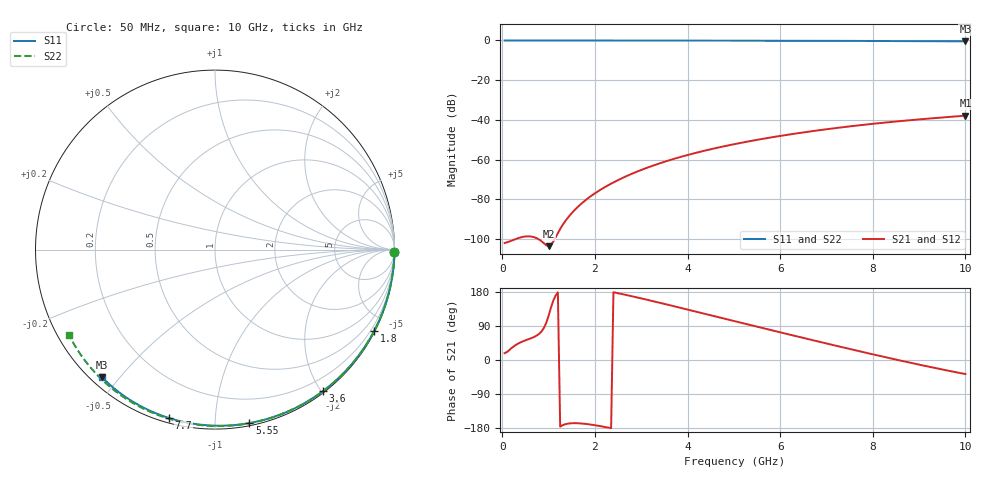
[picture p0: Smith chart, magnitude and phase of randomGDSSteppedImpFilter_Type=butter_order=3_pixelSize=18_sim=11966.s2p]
! freq	dB(S11)	phase(S11)	dB(S12)	phase(S12)
!  dB(S21)	phase(S21)	dB(S22)	phase(S22)
!S-par simulation data
#  GHz  S  DB  R 50
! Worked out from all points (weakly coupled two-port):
!   200 points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, 50 MHz to 10 GHz, reference 50 ohm
!   highest |S21| = -37.91 dB at 10 GHz (marker M1); lowest = -103.7 dB at 1 GHz (marker M2)
!   lowest |S11| = -0.4 dB at 10 GHz (marker M3), VSWR 38.98, Z = 1.54 - j22.4 ohm
!   |S11| at or under -10 dB: nowhere
!   |S22| runs from -0.5 to 0.0 dB; largest |S21 - S12| = 0
!   S11 on the Smith chart (normalised r, x): 50 MHz: open; 1.8 GHz: 0.04, -4.17; 3.6 GHz: 0.02, -2.02; 5.55 GHz: 0.02, -1.22; 7.7 GHz: 0.02, -0.76; 10 GHz: 0.03, -0.45
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0.05  -0.00 -0.8  -102.09 18.0  -102.09 18.0  -0.00 -0.9
0.5  -0.01 -7.6  -98.80 51.9  -98.80 51.9  -0.01 -8.6
1  -0.02 -15.1  -103.68 116.7  -103.68 116.7  -0.02 -17.1
1.75  -0.03 -26.2  -81.40 -168.0  -81.40 -168.0  -0.04 -29.7
1.8  -0.03 -27.0  -80.44 -168.6  -80.44 -168.6  -0.04 -30.5
1.85  -0.04 -27.7  -79.54 -169.4  -79.54 -169.4  -0.04 -31.3
2.05  -0.04 -30.6  -76.27 -173.1  -76.27 -173.1  -0.04 -34.6
2.2  -0.04 -32.8  -74.12 -176.4  -74.12 -176.4  -0.05 -37.1
2.55  -0.05 -37.9  -69.80 175.0  -69.80 175.0  -0.05 -42.8
2.95  -0.06 -43.6  -65.73 164.0  -65.73 164.0  -0.06 -49.2
3.4  -0.07 -50.0  -61.92 151.0  -61.92 151.0  -0.07 -56.4
3.6  -0.07 -52.8  -60.43 145.1  -60.43 145.1  -0.08 -59.5
3.9  -0.08 -56.9  -58.38 136.1  -58.38 136.1  -0.09 -64.1
4.3  -0.09 -62.3  -55.94 124.1  -55.94 124.1  -0.10 -70.2
5.05  -0.11 -72.3  -52.07 101.5  -52.07 101.5  -0.13 -81.3
5.55  -0.13 -78.8  -49.88 86.5  -49.88 86.5  -0.15 -88.6
6.1  -0.15 -85.8  -47.74 70.1  -47.74 70.1  -0.17 -96.4
6.7  -0.18 -93.2  -45.69 52.4  -45.69 52.4  -0.20 -104.7
7.7  -0.24 -105.2  -42.78 23.4  -42.78 23.4  -0.27 -118.2
8.35  -0.29 -112.8  -41.18 5.2  -41.18 5.2  -0.33 -127.0
9.2  -0.36 -122.6  -39.39 -17.4  -39.39 -17.4  -0.41 -138.4
10  -0.45 -131.6  -37.91 -37.1  -37.91 -37.1  -0.52 -149.6
